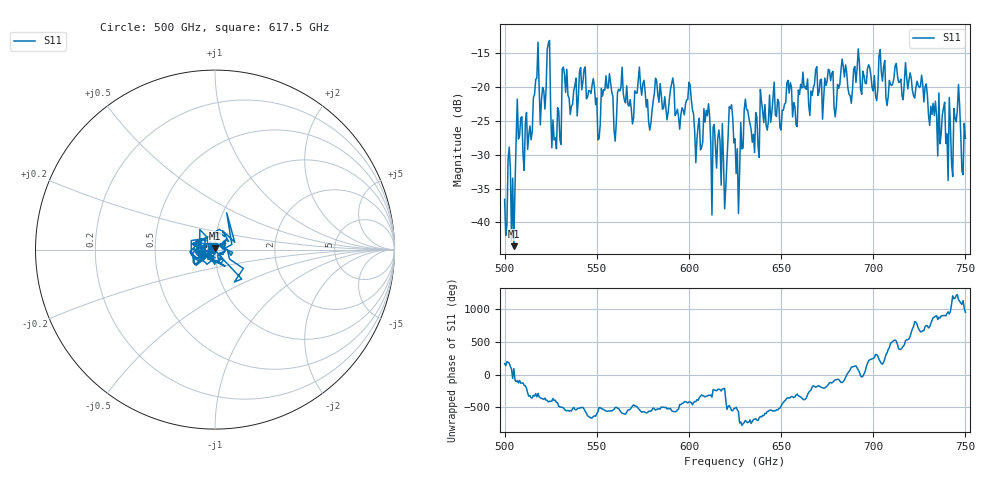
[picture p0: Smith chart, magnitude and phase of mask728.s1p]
!Created with skrf (http://scikit-rf.org).
# GHz S MA R 50.0
!freq magS11 angS11
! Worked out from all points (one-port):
!   401 points, 500 GHz to 750 GHz, reference 50 ohm
!   lowest |S11| = -43.5 dB at 505 GHz (marker M1), VSWR 1.01, Z = 50 + j0.667 ohm
!   |S11| at or under -10 dB: start of sweep to end of sweep
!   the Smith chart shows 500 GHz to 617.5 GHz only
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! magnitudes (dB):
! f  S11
! 500 GHz  -36.6
! 505 GHz  -43.5
! 507.5 GHz  -27.7
! 513.8 GHz  -25.7
! 516.9 GHz  -18.9
! 520.6 GHz  -20.0
! 523.8 GHz  -13.5
! 526.9 GHz  -27.8
! 531.2 GHz  -17.3
! 542.5 GHz  -19.2
! 550.6 GHz  -27.8
! 562.5 GHz  -20.6
! 590.6 GHz  -19.5
! 593.8 GHz  -23.3
! 609.4 GHz  -23.4
! 618.8 GHz  -30.8
! 622.5 GHz  -23.2
! 625 GHz  -27.6
! 626.2 GHz  -29.1
! 631.2 GHz  -23.3
! 636.9 GHz  -24.4
! 656.2 GHz  -24.4
! 676.9 GHz  -19.0
! 680 GHz  -22.8
! 683.8 GHz  -17.0
! 687.5 GHz  -21.2
! 718.8 GHz  -20.3
! 750 GHz  -27.6
